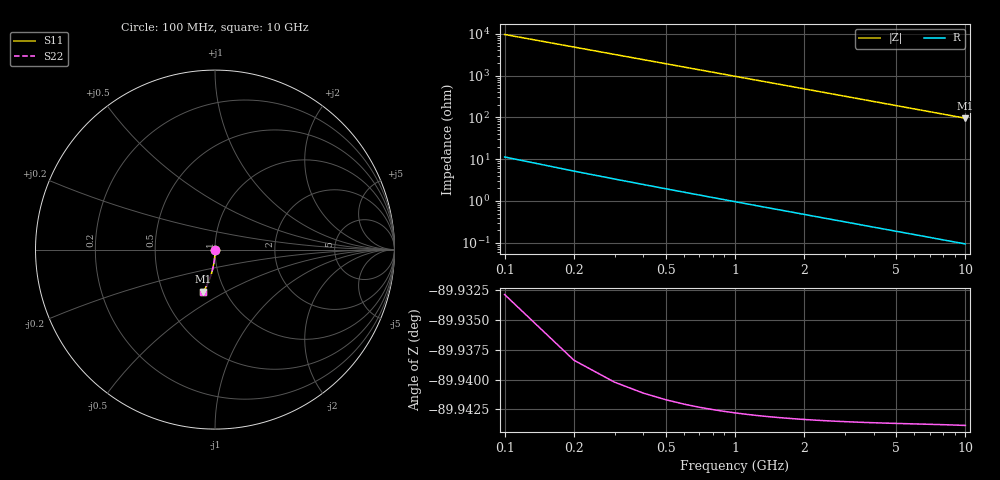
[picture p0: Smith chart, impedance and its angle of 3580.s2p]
# Hz S RI R 50.00
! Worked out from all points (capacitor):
!   100 points, 100 MHz to 10 GHz, reference 50 ohm
!   read as one part in shunt: C = 165 fF near 100 MHz
!   lowest |Z| = 95.7 ohm at 10 GHz (marker M1)
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1e8  1.2e-05 -0.00248  1 -0.00271  1 -0.00271  1.2e-05 -0.00248
2e8  -1.05e-05 -0.00496  0.9999 -0.00541  0.9999 -0.00541  -1.05e-05 -0.00496
3e8  -4.65e-05 -0.00744  0.9999 -0.00812  0.9999 -0.00812  -4.65e-05 -0.00744
4e8  -9.59e-05 -0.00992  0.9999 -0.0108  0.9999 -0.0108  -9.59e-05 -0.00992
5e8  -0.000159 -0.0124  0.9998 -0.0135  0.9998 -0.0135  -0.000159 -0.0124
6e8  -0.000235 -0.0149  0.9997 -0.0162  0.9997 -0.0162  -0.000235 -0.0149
7e8  -0.000325 -0.0174  0.9996 -0.0189  0.9996 -0.0189  -0.000325 -0.0174
8e8  -0.000428 -0.0198  0.9995 -0.0216  0.9995 -0.0216  -0.000428 -0.0198
9e8  -0.000544 -0.0223  0.9994 -0.0243  0.9994 -0.0243  -0.000544 -0.0223
1.1e9  -0.000818 -0.0273  0.9991 -0.0298  0.9991 -0.0298  -0.000818 -0.0273
1.4e9  -0.00133 -0.0347  0.9986 -0.0379  0.9986 -0.0379  -0.00133 -0.0347
1.8e9  -0.0022 -0.0446  0.9977 -0.0487  0.9977 -0.0487  -0.0022 -0.0446
2.1e9  -0.00299 -0.052  0.997 -0.0568  0.997 -0.0568  -0.00299 -0.052
2.5e9  -0.00423 -0.0618  0.9957 -0.0675  0.9957 -0.0675  -0.00423 -0.0618
2.9e9  -0.00569 -0.0717  0.9942 -0.0783  0.9942 -0.0783  -0.00569 -0.0717
3.4e9  -0.00781 -0.0839  0.9921 -0.0916  0.9921 -0.0916  -0.00781 -0.0839
4.2e9  -0.0119 -0.1033  0.988 -0.1129  0.988 -0.1129  -0.0119 -0.1033
5.1e9  -0.0174 -0.1248  0.9824 -0.1365  0.9824 -0.1365  -0.0174 -0.1248
5.9e9  -0.0232 -0.1436  0.9766 -0.1572  0.9766 -0.1572  -0.0232 -0.1436
6.7e9  -0.0298 -0.1621  0.97 -0.1775  0.97 -0.1775  -0.0298 -0.1621
8.4e9  -0.0462 -0.1999  0.9536 -0.2194  0.9536 -0.2194  -0.0462 -0.1999
1e10  -0.0644 -0.2336  0.9353 -0.2568  0.9353 -0.2568  -0.0644 -0.2336
